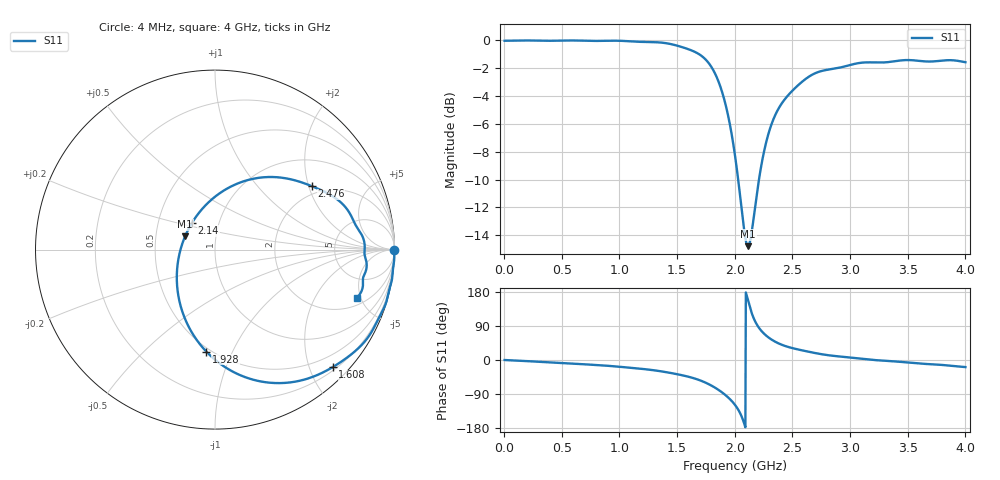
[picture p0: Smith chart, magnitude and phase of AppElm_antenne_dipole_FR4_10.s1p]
! TOUCHSTONE file generated by CST MICROWAVE STUDIO
! Date and time: Thu May 12 15:49:41 2022
! Project name: AppElm_antenne_dipole_FR4.cst
! Parameters = {L=46.56; e=0.035; f=2.45e+09; h=1.6; i=0.8; l1=4; lambda=122.449; ls=30; wl=1.7; ws=80}
! Header version: 2018
! Port assignment regex: !\s*Touchstone port\s*([0-9]+)\s*=\s*(CST MWS port|CST DS port)\s*([0-9]+|Zmin|Zmax)\s*\(\"(.*)\"\)(\s*mode\s*([0-9]+))?.*
! Touchstone port assignment:
! Touchstone port 1 = CST MWS port 1 ("")
# GHz S MA R 50
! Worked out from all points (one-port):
!   1000 points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, 4 MHz to 4 GHz, reference 50 ohm
!   lowest |S11| = -14.8 dB at 2.116 GHz (marker M1), VSWR 1.45, Z = 35.4 + j5.44 ohm
!   |S11| at or under -10 dB: 2.03 GHz to 2.21 GHz (180.2 MHz wide, 8.5 % of centre)
!   S11 on the Smith chart (normalised r, x): 4 MHz: open; 1.608 GHz: 0.26, -2.39; 1.928 GHz: 0.47, -0.80; 2.14 GHz: 0.74, +0.23; 2.476 GHz: 1.73, +2.09; 4 GHz: 2.63, -4.65
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0.004  0.9975 -0.1
0.504  0.999 -7.7
1.004  0.9973 -18.0
1.316  0.9854 -27.8
1.504  0.957 -37.7
1.608  0.9268 -44.9
1.708  0.8825 -54.8
1.8  0.7999 -67.9
1.864  0.7029 -79.9
1.928  0.5705 -94.8
1.968  0.4733 -106.4
2.004  0.3809 -119.3
2.044  0.2815 -138.9
2.084  0.2043 -169.6
2.116  0.1824 156.0
2.14  0.1969 130.5
2.208  0.3128 85.7
2.276  0.4368 63.4
2.372  0.5617 44.9
2.476  0.6444 33.3
2.504  0.6626 31.0
2.62  0.7301 23.1
2.716  0.7681 17.3
3.004  0.8171 6.5
3.192  0.834 0.4
3.504  0.8503 -6.9
3.856  0.8495 -14.6
4  0.8352 -18.6
